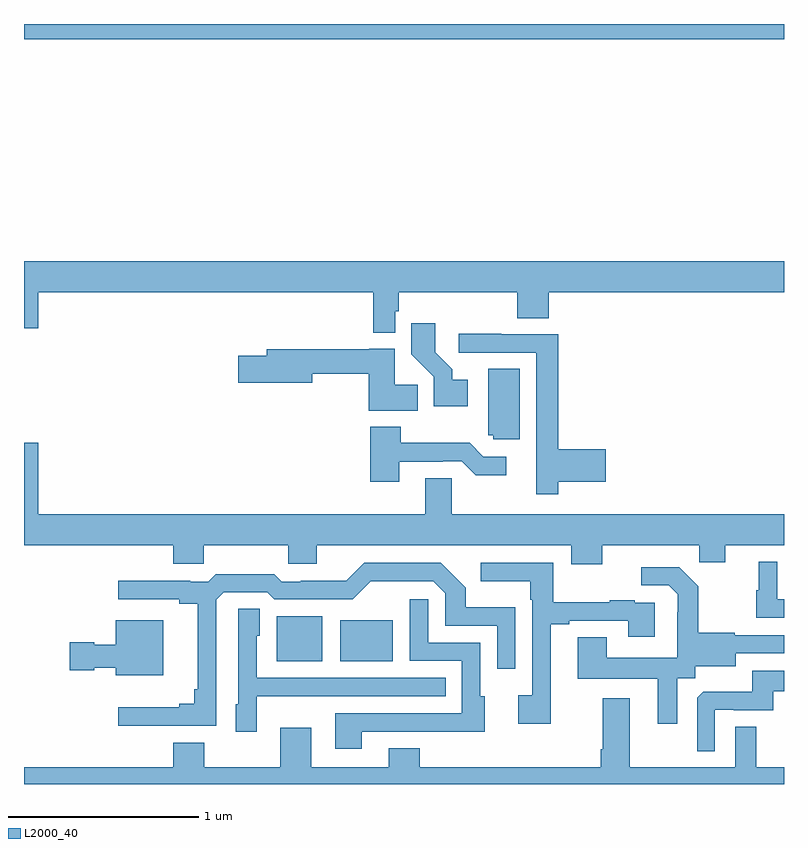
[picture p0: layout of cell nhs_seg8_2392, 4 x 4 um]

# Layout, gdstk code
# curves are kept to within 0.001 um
import gdstk
lib = gdstk.Library(unit=1e-6, precision=1e-09)
def R(c, l, rs):  # rectangles x0, y0, x1, y1
    for r in rs: c.add(gdstk.rectangle(r[:2], r[2:], *l))
def P(c, l, *ps):  # polygons
    for p in ps: c.add(gdstk.Polygon(p, *l))
L2000_40 = (2000, 40)

nhs_seg8_2392 = lib.new_cell('nhs_seg8_2392')
R(nhs_seg8_2392, L2000_40, [(262.331,1126.547,262.57,1126.783), (262.664,1126.547,262.942,1126.762), (261,1129.82,265,1129.9)])
P(nhs_seg8_2392, L2000_40, [(262.953,1128.387),(262.973,1128.387),(262.973,1128.488),(263.597,1128.488),(263.597,1128.352),(263.762,1128.352),(263.762,1128.488),(265,1128.488),(265,1128.652),(261,1128.652),(261,1128.3),(261.076,1128.3),(261.076,1128.488),(262.837,1128.488),(262.837,1128.275),(262.953,1128.275)],
  [(263.335,1128.028),(263.254,1128.028),(263.254,1128.083),(263.164,1128.173),(263.164,1128.325),(263.038,1128.325),(263.038,1128.162),(263.157,1128.043),(263.157,1127.888),(263.335,1127.888)],
  [(263.813,1127.492),(264.061,1127.492),(264.061,1127.663),(263.813,1127.663),(263.813,1128.267),(263.513,1128.267),(263.513,1128.27),(263.289,1128.27),(263.289,1128.171),(263.697,1128.171),(263.697,1127.646),(263.696,1127.646),(263.696,1127.424),(263.813,1127.424)],
  [(263.072,1128.002),(262.951,1128.002),(262.951,1128.19),(262.818,1128.19),(262.818,1128.187),(262.277,1128.187),(262.277,1128.153),(262.128,1128.153),(262.128,1128.011),(262.516,1128.011),(262.516,1128.058),(262.814,1128.058),(262.814,1127.864),(263.072,1127.864)],
  [(263.608,1128.085),(263.444,1128.085),(263.444,1127.736),(263.469,1127.736),(263.469,1127.715),(263.608,1127.715)],
  [(262.975,1127.595),(263.204,1127.595),(263.204,1127.598),(263.304,1127.598),(263.377,1127.525),(263.539,1127.525),(263.539,1127.622),(263.418,1127.622),(263.345,1127.695),(262.983,1127.695),(262.983,1127.779),(262.823,1127.779),(262.823,1127.49),(262.975,1127.49)],
  [(264.043,1127.156),(264.553,1127.156),(264.553,1127.066),(264.691,1127.066),(264.691,1127.156),(265,1127.156),(265,1127.32),(263.25,1127.32),(263.25,1127.51),(263.111,1127.51),(263.111,1127.32),(261.076,1127.32),(261.076,1127.695),(261,1127.695),(261,1127.156),(261.785,1127.156),(261.785,1127.058),(261.945,1127.058),(261.945,1127.156),(262.39,1127.156),(262.39,1127.058),(262.54,1127.058),(262.54,1127.156),(263.879,1127.156),(263.879,1127.057),(264.043,1127.057)],
  [(265,1126.872),(264.964,1126.872),(264.964,1127.071),(264.866,1127.071),(264.866,1126.92),(264.855,1126.92),(264.855,1126.776),(265,1126.776)],
  [(262.011,1126.869),(262.05,1126.908),(262.281,1126.908),(262.317,1126.872),(262.731,1126.872),(262.826,1126.967),(263.154,1126.968),(263.217,1126.905),(263.217,1126.734),(263.49,1126.734),(263.49,1126.506),(263.586,1126.506),(263.586,1126.831),(263.325,1126.831),(263.325,1126.934),(263.194,1127.064),(262.791,1127.064),(262.697,1126.97),(262.456,1126.97),(262.456,1126.965),(262.356,1126.965),(262.317,1127.005),(262.009,1127.005),(261.969,1126.965),(261.875,1126.965),(261.875,1126.97),(261.495,1126.97),(261.495,1126.872),(261.818,1126.872),(261.818,1126.85),(261.914,1126.85),(261.914,1126.399),(261.895,1126.399),(261.895,1126.322),(261.818,1126.322),(261.818,1126.303),(261.495,1126.303),(261.495,1126.206),(262.011,1126.206)],
  [(263.773,1126.74),(263.869,1126.74),(263.869,1126.758),(264.179,1126.758),(264.179,1126.674),(264.319,1126.674),(264.319,1126.854),(264.215,1126.854),(264.215,1126.867),(264.083,1126.867),(264.083,1126.856),(263.785,1126.856),(263.785,1127.064),(263.403,1127.064),(263.403,1126.967),(263.664,1126.967),(263.664,1126.871),(263.676,1126.871),(263.676,1126.366),(263.601,1126.366),(263.601,1126.218),(263.773,1126.218)],
  [(264.439,1126.456),(264.534,1126.456),(264.534,1126.52),(264.745,1126.52),(264.745,1126.587),(265,1126.587),(265,1126.683),(264.741,1126.683),(264.741,1126.696),(264.549,1126.696),(264.549,1126.941),(264.449,1127.041),(264.249,1127.041),(264.249,1126.947),(264.393,1126.947),(264.44,1126.9),(264.44,1126.805),(264.438,1126.805),(264.438,1126.564),(264.067,1126.564),(264.067,1126.673),(263.915,1126.673),(263.915,1126.454),(264.335,1126.454),(264.335,1126.218),(264.439,1126.218)],
  [(262.777,1126.176),(263.207,1126.176),(263.207,1126.175),(263.425,1126.175),(263.425,1126.362),(263.4,1126.362),(263.4,1126.644),(263.127,1126.644),(263.127,1126.873),(263.031,1126.873),(263.031,1126.548),(263.304,1126.548),(263.304,1126.272),(262.637,1126.272),(262.637,1126.086),(262.777,1126.086)],
  [(262.224,1126.361),(262.541,1126.361),(262.541,1126.362),(263.219,1126.362),(263.219,1126.458),(262.224,1126.458),(262.224,1126.68),(262.24,1126.68),(262.24,1126.823),(262.128,1126.823),(262.128,1126.32),(262.115,1126.32),(262.115,1126.176),(262.224,1126.176)],
  [(261.733,1126.762),(261.482,1126.762),(261.482,1126.633),(261.369,1126.633),(261.369,1126.646),(261.24,1126.646),(261.24,1126.499),(261.369,1126.499),(261.369,1126.511),(261.482,1126.511),(261.482,1126.472),(261.733,1126.472)],
  [(264.636,1126.29),(264.736,1126.29),(264.736,1126.287),(264.944,1126.287),(264.944,1126.389),(265,1126.389),(265,1126.497),(264.834,1126.497),(264.834,1126.385),(264.575,1126.385),(264.543,1126.353),(264.543,1126.073),(264.636,1126.073)],
  [(265,1125.988),(264.853,1125.988),(264.853,1126.202),(264.744,1126.202),(264.744,1125.988),(264.187,1125.988),(264.187,1126.351),(264.047,1126.351),(264.047,1126.084),(264.035,1126.084),(264.035,1125.988),(263.083,1125.988),(263.083,1126.087),(262.919,1126.087),(262.919,1125.988),(262.513,1125.988),(262.513,1126.195),(262.349,1126.195),(262.349,1125.988),(261.949,1125.988),(261.949,1126.117),(261.785,1126.117),(261.785,1125.988),(261,1125.988),(261,1125.9),(265,1125.9)])

lib.write_gds('nhs_seg8_2392.gds')
